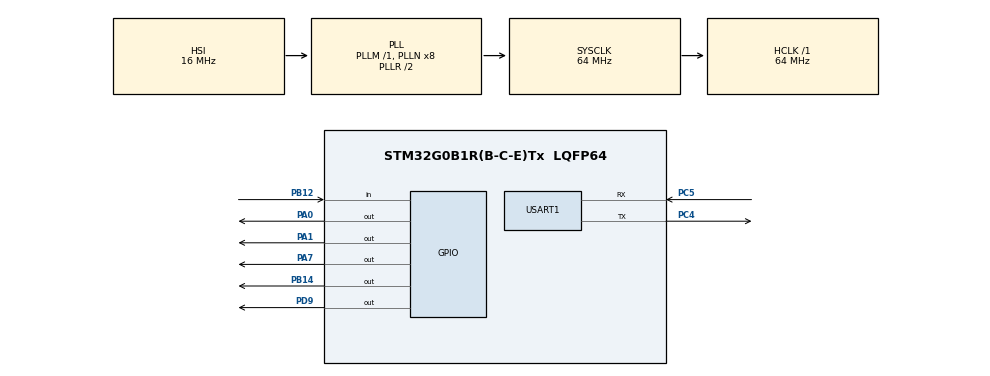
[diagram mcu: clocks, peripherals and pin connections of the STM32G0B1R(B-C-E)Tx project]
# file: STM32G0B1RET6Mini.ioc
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ADC1.DiscontinuousConvMode=ENABLE
ADC1.NbrOfConversion=1
ADC1.NbrOfConversionFlag=0
ADC1.SamplingTimeCommon1=ADC_SAMPLETIME_79CYCLES_5
ADC1.SelectedChannel=ADC_CHANNEL_TEMPSENSOR
ADC1.Sequencer=NOT_FULLY_CONFIGURABLE
ADC1.master=1
Mcu.Family=STM32G0
Mcu.Name=STM32G0B1R(B-C-E)Tx
Mcu.Package=LQFP64
PA0.Signal=GPIO_Output
PA1.Signal=GPIO_Output
PA7.GPIO_PuPd=GPIO_NOPULL
PA7.Signal=GPIO_Output
PB12.Signal=GPIO_Input
PB14.Signal=GPIO_Output
PC4.Mode=Asynchronous
PC4.Signal=USART1_TX
PC5.Mode=Asynchronous
PC5.Signal=USART1_RX
PD9.Signal=GPIO_Output
ProjectManager.HeapSize=0x200
ProjectManager.StackSize=0x400
ProjectManager.TargetToolchain=STM32CubeIDE
RCC.ADCFreq_Value=64000000
RCC.AHBFreq_Value=64000000
RCC.CortexFreq_Value=64000000
RCC.EXTERNAL_CLOCK_VALUE=48000
RCC.HCLKFreq_Value=64000000
RCC.HSE_VALUE=8000000
RCC.HSI48_VALUE=48000000
RCC.HSI_VALUE=16000000
RCC.LSE_VALUE=32768
RCC.SYSCLKFreq_VALUE=64000000
RCC.SYSCLKSource=RCC_SYSCLKSOURCE_PLLCLK
RCC.USBFreq_Value=48000000
RCC.VCOOutputFreq_Value=128000000
TIM1.AutoReloadPreload=TIM_AUTORELOAD_PRELOAD_ENABLE
TIM1.Period=63999
TIM1.Prescaler=64000
USART1.VirtualMode-Asynchronous=VM_ASYNC
VP_ADC1_TempSens_Input.Mode=IN-TempSens
VP_SYS_VS_DBSignals.Mode=DisableDeadBatterySignals
VP_TIM1_VS_ClockSourceINT.Mode=Internal
board=custom

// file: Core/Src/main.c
/* USER CODE BEGIN Header */
/**
  ******************************************************************************
  * @file           : main.c
  * @brief          : Main program body
  ******************************************************************************
  * @attention
  *
  * Copyright (c) 2026 STMicroelectronics.
  * All rights reserved.
  *
  * This software is licensed under terms that can be found in the LICENSE file
  * in the root directory of this software component.
  * If no LICENSE file comes with this software, it is provided AS-IS.
  *
  ******************************************************************************
  */
/* USER CODE END Header */
#include "main.h"

/* USER CODE BEGIN Includes */
#include <stdio.h>
#include <stdlib.h>
#include <math.h>
#include <time.h>
/* USER CODE END Includes */

/* USER CODE BEGIN PD */
#define TS_CAL1_ADDR ((uint16_t*) 0x1FFF75A8)
#define TS_CAL2_ADDR ((uint16_t*) 0x1FFF75CA)
/* USER CODE END PD */

ADC_HandleTypeDef hadc1;

TIM_HandleTypeDef htim1;

UART_HandleTypeDef huart1;

/* USER CODE BEGIN PV */
#define LED1_PORT GPIOA
#define LED1_PIN GPIO_PIN_0

#define LED2_PORT GPIOA
#define LED2_PIN GPIO_PIN_1

volatile uint32_t heat_val = 123;

/* USER CODE END PV */

void SystemClock_Config(void);
static void MX_GPIO_Init(void);
static void MX_USART1_UART_Init(void);
static void MX_ADC1_Init(void);
static void MX_TIM1_Init(void);
/* USER CODE BEGIN PFP */

void calculate_pi(int, double *storage);
/* USER CODE END PFP */

int main(void)
{

  /* MCU Configuration--------------------------------------------------------*/

  /* Reset of all peripherals, Initializes the Flash interface and the Systick. */
  HAL_Init();

  /* Configure the system clock */
  SystemClock_Config();

  /* Initialize all configured peripherals */
  MX_GPIO_Init();
  MX_USART1_UART_Init();
  MX_ADC1_Init();
  MX_TIM1_Init();
  /* USER CODE BEGIN 2 */
  //HAL_ADC_Start(&hadc1);
  //HAL_ADC_Stop(&hadc1);
  //float temp;
  volatile static float ADC_Values[2];
  float cal1 = (float)*TS_CAL1_ADDR;
  float cal2 = (float)*TS_CAL2_ADDR;
  HAL_GPIO_WritePin(GPIOB, GPIO_PIN_14, GPIO_PIN_SET);
  HAL_TIM_Base_Start(&htim1);
  HAL_TIM_PWM_Start(&htim1, TIM_CHANNEL_1);
  //HAL_UART_Receive(&huart1, pData, Size, Timeout);

  /* USER CODE END 2 */

  /* Infinite loop */
  /* USER CODE BEGIN WHILE */
  uint8_t temp_disp_freq = 1;
  uint16_t count = 0;
  HAL_GPIO_TogglePin(LED1_PORT, LED1_PIN);
  int pi_precision = 0;
  double pi_value = 0.0f;

  while (1)
  {
	  // temp
	  count++;
	  if (count == 80*temp_disp_freq) {
		  HAL_GPIO_TogglePin(LED1_PORT, LED1_PIN);
		  HAL_GPIO_TogglePin(LED2_PORT, LED2_PIN);
	  HAL_ADC_Start(&hadc1);
	  HAL_ADC_PollForConversion(&hadc1, 100);
	  ADC_Values[0] = HAL_ADC_GetValue(&hadc1);
	  ADC_Values[0] = ((130.0f - 30.0f) / (cal2 - cal1)) * (ADC_Values[0] - cal1) + 20.0f;
	  // hall

	  // Your code to benchmark here

	  char buff[120];

	  calculate_pi(pi_precision, &pi_value);

	  int len = snprintf(buff, sizeof(buff), "Temp: %.2f C , pi precision %d, pi value %.15f \r\n",
	                     ADC_Values[0], pi_precision, pi_value);
	  HAL_UART_Transmit(&huart1, (uint8_t*)buff, len, 100);
	  count = 0;
	  pi_precision+=10000;
	  if (pi_precision == 2000000){
	  	pi_precision = 0;
	  }
	  }

	  HAL_Delay(10);
  }
    /* USER CODE END WHILE */

}

void SystemClock_Config(void)
{
  RCC_OscInitTypeDef RCC_OscInitStruct = {0};
  RCC_ClkInitTypeDef RCC_ClkInitStruct = {0};

  /** Configure the main internal regulator output voltage
  */
  HAL_PWREx_ControlVoltageScaling(PWR_REGULATOR_VOLTAGE_SCALE1);

  /** Initializes the RCC Oscillators according to the specified parameters
  * in the RCC_OscInitTypeDef structure.
  */
  RCC_OscInitStruct.OscillatorType = RCC_OSCILLATORTYPE_HSI;
  RCC_OscInitStruct.HSIState = RCC_HSI_ON;
  RCC_OscInitStruct.HSIDiv = RCC_HSI_DIV1;
  RCC_OscInitStruct.HSICalibrationValue = RCC_HSICALIBRATION_DEFAULT;
  RCC_OscInitStruct.PLL.PLLState = RCC_PLL_ON;
  RCC_OscInitStruct.PLL.PLLSource = RCC_PLLSOURCE_HSI;
  RCC_OscInitStruct.PLL.PLLM = RCC_PLLM_DIV1;
  RCC_OscInitStruct.PLL.PLLN = 8;
  RCC_OscInitStruct.PLL.PLLP = RCC_PLLP_DIV2;
  RCC_OscInitStruct.PLL.PLLQ = RCC_PLLQ_DIV2;
  RCC_OscInitStruct.PLL.PLLR = RCC_PLLR_DIV2;
  if (HAL_RCC_OscConfig(&RCC_OscInitStruct) != HAL_OK)
  {
    Error_Handler();
  }

  /** Initializes the CPU, AHB and APB buses clocks
  */
  RCC_ClkInitStruct.ClockType = RCC_CLOCKTYPE_HCLK|RCC_CLOCKTYPE_SYSCLK
                              |RCC_CLOCKTYPE_PCLK1;
  RCC_ClkInitStruct.SYSCLKSource = RCC_SYSCLKSOURCE_PLLCLK;
  RCC_ClkInitStruct.AHBCLKDivider = RCC_SYSCLK_DIV1;
  RCC_ClkInitStruct.APB1CLKDivider = RCC_HCLK_DIV1;

  if (HAL_RCC_ClockConfig(&RCC_ClkInitStruct, FLASH_LATENCY_2) != HAL_OK)
  {
    Error_Handler();
  }
}

static void MX_ADC1_Init(void)
{

  ADC_ChannelConfTypeDef sConfig = {0};

  /** Configure the global features of the ADC (Clock, Resolution, Data Alignment and number of conversion)
  */
  hadc1.Instance = ADC1;
  hadc1.Init.ClockPrescaler = ADC_CLOCK_SYNC_PCLK_DIV2;
  hadc1.Init.Resolution = ADC_RESOLUTION_12B;
  hadc1.Init.DataAlign = ADC_DATAALIGN_RIGHT;
  hadc1.Init.ScanConvMode = ADC_SCAN_SEQ_FIXED;
  hadc1.Init.EOCSelection = ADC_EOC_SINGLE_CONV;
  hadc1.Init.LowPowerAutoWait = DISABLE;
  hadc1.Init.LowPowerAutoPowerOff = DISABLE;
  hadc1.Init.ContinuousConvMode = DISABLE;
  hadc1.Init.NbrOfConversion = 1;
  hadc1.Init.DiscontinuousConvMode = ENABLE;
  hadc1.Init.ExternalTrigConv = ADC_SOFTWARE_START;
  hadc1.Init.ExternalTrigConvEdge = ADC_EXTERNALTRIGCONVEDGE_NONE;
  hadc1.Init.DMAContinuousRequests = DISABLE;
  hadc1.Init.Overrun = ADC_OVR_DATA_PRESERVED;
  hadc1.Init.SamplingTimeCommon1 = ADC_SAMPLETIME_79CYCLES_5;
  hadc1.Init.OversamplingMode = DISABLE;
  hadc1.Init.TriggerFrequencyMode = ADC_TRIGGER_FREQ_HIGH;
  if (HAL_ADC_Init(&hadc1) != HAL_OK)
  {
    Error_Handler();
  }

  /** Configure Regular Channel
  */
  sConfig.Channel = ADC_CHANNEL_TEMPSENSOR;
  sConfig.Rank = ADC_RANK_CHANNEL_NUMBER;
  if (HAL_ADC_ConfigChannel(&hadc1, &sConfig) != HAL_OK)
  {
    Error_Handler();
  }

}

static void MX_TIM1_Init(void)
{

  TIM_ClockConfigTypeDef sClockSourceConfig = {0};
  TIM_MasterConfigTypeDef sMasterConfig = {0};

  htim1.Instance = TIM1;
  htim1.Init.Prescaler = 64000;
  htim1.Init.CounterMode = TIM_COUNTERMODE_UP;
  htim1.Init.Period = 63999;
  htim1.Init.ClockDivision = TIM_CLOCKDIVISION_DIV1;
  htim1.Init.RepetitionCounter = 0;
  htim1.Init.AutoReloadPreload = TIM_AUTORELOAD_PRELOAD_ENABLE;
  if (HAL_TIM_Base_Init(&htim1) != HAL_OK)
  {
    Error_Handler();
  }
  sClockSourceConfig.ClockSource = TIM_CLOCKSOURCE_INTERNAL;
  if (HAL_TIM_ConfigClockSource(&htim1, &sClockSourceConfig) != HAL_OK)
  {
    Error_Handler();
  }
  sMasterConfig.MasterOutputTrigger = TIM_TRGO_RESET;
  sMasterConfig.MasterOutputTrigger2 = TIM_TRGO2_RESET;
  sMasterConfig.MasterSlaveMode = TIM_MASTERSLAVEMODE_DISABLE;
  if (HAL_TIMEx_MasterConfigSynchronization(&htim1, &sMasterConfig) != HAL_OK)
  {
    Error_Handler();
  }

}

static void MX_USART1_UART_Init(void)
{

  huart1.Instance = USART1;
  huart1.Init.BaudRate = 115200;
  huart1.Init.WordLength = UART_WORDLENGTH_8B;
  huart1.Init.StopBits = UART_STOPBITS_1;
  huart1.Init.Parity = UART_PARITY_NONE;
  huart1.Init.Mode = UART_MODE_TX_RX;
  huart1.Init.HwFlowCtl = UART_HWCONTROL_NONE;
  huart1.Init.OverSampling = UART_OVERSAMPLING_16;
  huart1.Init.OneBitSampling = UART_ONE_BIT_SAMPLE_DISABLE;
  huart1.Init.ClockPrescaler = UART_PRESCALER_DIV1;
  huart1.AdvancedInit.AdvFeatureInit = UART_ADVFEATURE_NO_INIT;
  if (HAL_UART_Init(&huart1) != HAL_OK)
  {
    Error_Handler();
  }
  if (HAL_UARTEx_SetTxFifoThreshold(&huart1, UART_TXFIFO_THRESHOLD_1_8) != HAL_OK)
  {
    Error_Handler();
  }
  if (HAL_UARTEx_SetRxFifoThreshold(&huart1, UART_RXFIFO_THRESHOLD_1_8) != HAL_OK)
  {
    Error_Handler();
  }
  if (HAL_UARTEx_DisableFifoMode(&huart1) != HAL_OK)
  {
    Error_Handler();
  }

}

static void MX_GPIO_Init(void)
{
  GPIO_InitTypeDef GPIO_InitStruct = {0};

  /* GPIO Ports Clock Enable */
  __HAL_RCC_GPIOA_CLK_ENABLE();
  __HAL_RCC_GPIOC_CLK_ENABLE();
  __HAL_RCC_GPIOB_CLK_ENABLE();
  __HAL_RCC_GPIOD_CLK_ENABLE();

  /*Configure GPIO pin Output Level */
  HAL_GPIO_WritePin(GPIOA, GPIO_PIN_0|GPIO_PIN_1|GPIO_PIN_7, GPIO_PIN_RESET);

  /*Configure GPIO pin Output Level */
  HAL_GPIO_WritePin(GPIOB, GPIO_PIN_14, GPIO_PIN_RESET);

  /*Configure GPIO pin Output Level */
  HAL_GPIO_WritePin(GPIOD, GPIO_PIN_9, GPIO_PIN_RESET);

  /*Configure GPIO pins : PA0 PA1 PA7 */
  GPIO_InitStruct.Pin = GPIO_PIN_0|GPIO_PIN_1|GPIO_PIN_7;
  GPIO_InitStruct.Mode = GPIO_MODE_OUTPUT_PP;
  GPIO_InitStruct.Pull = GPIO_NOPULL;
  GPIO_InitStruct.Speed = GPIO_SPEED_FREQ_LOW;
  HAL_GPIO_Init(GPIOA, &GPIO_InitStruct);

  /*Configure GPIO pin : PB12 */
  GPIO_InitStruct.Pin = GPIO_PIN_12;
  GPIO_InitStruct.Mode = GPIO_MODE_INPUT;
  GPIO_InitStruct.Pull = GPIO_NOPULL;
  HAL_GPIO_Init(GPIOB, &GPIO_InitStruct);

  /*Configure GPIO pin : PB14 */
  GPIO_InitStruct.Pin = GPIO_PIN_14;
  GPIO_InitStruct.Mode = GPIO_MODE_OUTPUT_PP;
  GPIO_InitStruct.Pull = GPIO_NOPULL;
  GPIO_InitStruct.Speed = GPIO_SPEED_FREQ_LOW;
  HAL_GPIO_Init(GPIOB, &GPIO_InitStruct);

  /*Configure GPIO pin : PD9 */
  GPIO_InitStruct.Pin = GPIO_PIN_9;
  GPIO_InitStruct.Mode = GPIO_MODE_OUTPUT_PP;
  GPIO_InitStruct.Pull = GPIO_NOPULL;
  GPIO_InitStruct.Speed = GPIO_SPEED_FREQ_LOW;
  HAL_GPIO_Init(GPIOD, &GPIO_InitStruct);

}

/* USER CODE BEGIN 4 */

int iseven(int num){
	return (~num & 1);
}

	void calculate_pi(int precision, double *storage){
		double buff = 0;
		//main formula
		// 4/ precision*2 - 1
		while (precision >= 1){
			if (iseven(precision)){
				buff -= 4.0f / ((precision*2) - 1);

			} else {
			buff += 4.0f / ((precision*2) - 1);
			}

			precision--;
		}

		*storage = buff;
	}

/* USER CODE END 4 */

void Error_Handler(void)
{
  __disable_irq();
  while (1)
  {
  }
}
